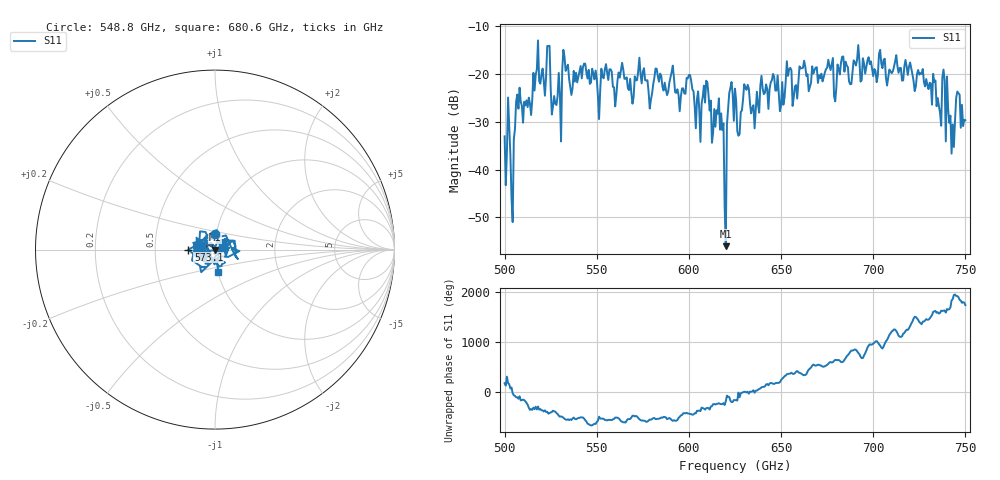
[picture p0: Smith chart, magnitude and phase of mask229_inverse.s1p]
!Created with skrf (http://scikit-rf.org).
# GHz S MA R 50.0
!freq magS11 angS11
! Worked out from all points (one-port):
!   401 points, 500 GHz to 750 GHz, reference 50 ohm
!   lowest |S11| = -56.0 dB at 620 GHz (marker M1), VSWR 1.00, Z = 49.8 + j0.00823 ohm
!   |S11| at or under -10 dB: start of sweep to end of sweep
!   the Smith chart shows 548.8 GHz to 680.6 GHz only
!   S11 on the Smith chart (normalised r, x): 548.8 GHz: 0.99, +0.17; 573.1 GHz: 0.74, +0.00; 680.6 GHz: 1.01, -0.25
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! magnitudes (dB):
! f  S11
! 500 GHz  -33.0
! 504.4 GHz  -51.0
! 507.5 GHz  -27.2
! 513.8 GHz  -26.2
! 516.9 GHz  -20.2
! 523.8 GHz  -14.2
! 526.9 GHz  -24.6
! 531.2 GHz  -19.3
! 548.8 GHz  -21.1
! 562.5 GHz  -20.7
! 573.1 GHz  -16.6
! 593.8 GHz  -23.2
! 605 GHz  -23.6
! 609.4 GHz  -21.4
! 617.5 GHz  -28.2
! 618.8 GHz  -30.3
! 620 GHz  -56.0
! 621.9 GHz  -24.0
! 625 GHz  -23.1
! 656.2 GHz  -26.7
! 680.6 GHz  -18.0
! 687.5 GHz  -22.1
! 718.8 GHz  -20.2
! 735.6 GHz  -26.7
! 738.8 GHz  -21.4
! 742.5 GHz  -36.6
! 745.6 GHz  -23.7
! 750 GHz  -29.7
